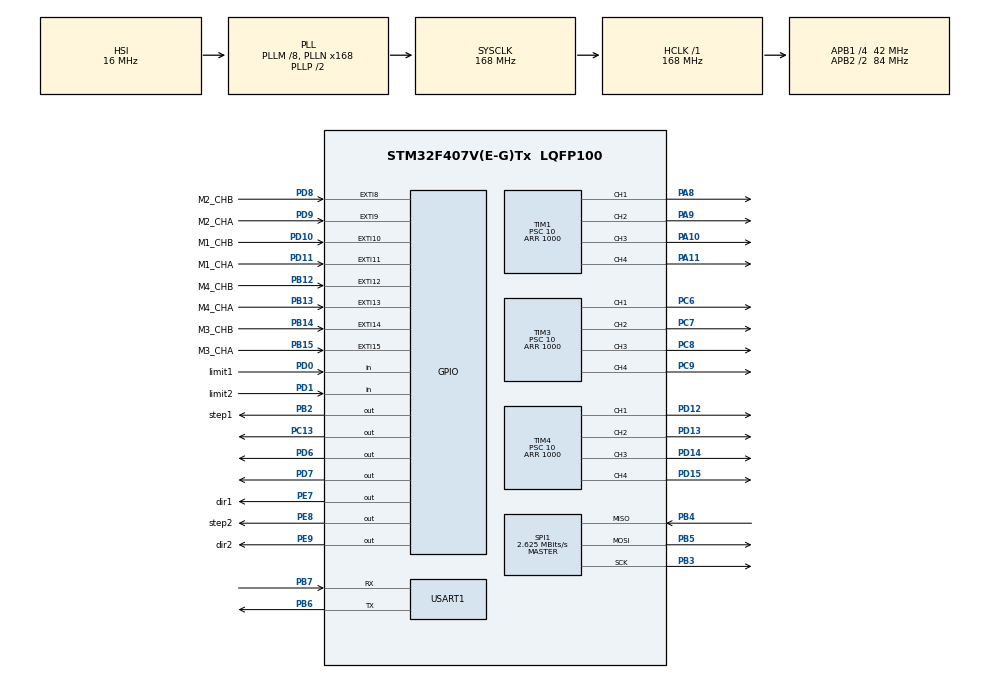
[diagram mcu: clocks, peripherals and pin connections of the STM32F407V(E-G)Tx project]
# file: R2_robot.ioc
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Mcu.Family=STM32F4
Mcu.Name=STM32F407V(E-G)Tx
Mcu.Package=LQFP100
NVIC.EXTI15_10_IRQn=true\:0\:0\:false\:false\:true\:true\:true
NVIC.EXTI9_5_IRQn=true\:0\:0\:false\:false\:true\:true\:true
NVIC.PriorityGroup=NVIC_PRIORITYGROUP_4
NVIC.TIM1_BRK_TIM9_IRQn=true\:0\:0\:false\:false\:true\:true\:true
NVIC.TIM7_IRQn=true\:0\:0\:false\:false\:true\:true\:true
PA10.Signal=S_TIM1_CH3
PA11.Signal=S_TIM1_CH4
PA13.Mode=Serial_Wire
PA13.Signal=SYS_JTMS-SWDIO
PA14.Mode=Serial_Wire
PA14.Signal=SYS_JTCK-SWCLK
PA8.Signal=S_TIM1_CH1
PA9.Signal=S_TIM1_CH2
PB12.GPIO_Label=M4_CHB
PB12.GPIO_ModeDefaultEXTI=GPIO_MODE_IT_RISING_FALLING
PB12.Signal=GPXTI12
PB13.GPIO_Label=M4_CHA
PB13.GPIO_ModeDefaultEXTI=GPIO_MODE_IT_RISING_FALLING
PB13.Signal=GPXTI13
PB14.GPIO_Label=M3_CHB
PB14.GPIO_ModeDefaultEXTI=GPIO_MODE_IT_RISING_FALLING
PB14.Signal=GPXTI14
PB15.GPIO_Label=M3_CHA
PB15.GPIO_ModeDefaultEXTI=GPIO_MODE_IT_RISING_FALLING
PB15.Signal=GPXTI15
PB2.GPIO_Label=step1
PB2.GPIO_PuPd=GPIO_PULLUP
PB2.GPIO_Speed=GPIO_SPEED_FREQ_VERY_HIGH
PB2.Signal=GPIO_Output
PB3.Mode=Full_Duplex_Master
PB3.Signal=SPI1_SCK
PB4.Mode=Full_Duplex_Master
PB4.Signal=SPI1_MISO
PB5.Mode=Full_Duplex_Master
PB5.Signal=SPI1_MOSI
PB6.Mode=Asynchronous
PB6.Signal=USART1_TX
PB7.Mode=Asynchronous
PB7.Signal=USART1_RX
PC13-ANTI_TAMP.Signal=GPIO_Output
PC6.Signal=S_TIM3_CH1
PC7.Signal=S_TIM3_CH2
PC8.Signal=S_TIM3_CH3
PC9.Signal=S_TIM3_CH4
PD0.GPIO_Label=limit1
PD0.Signal=GPIO_Input
PD1.GPIO_Label=limit2
PD1.Signal=GPIO_Input
PD10.GPIO_Label=M1_CHB
PD10.GPIO_ModeDefaultEXTI=GPIO_MODE_IT_RISING_FALLING
PD10.Signal=GPXTI10
PD11.GPIO_Label=M1_CHA
PD11.GPIO_ModeDefaultEXTI=GPIO_MODE_IT_RISING_FALLING
PD11.Signal=GPXTI11
PD12.Signal=S_TIM4_CH1
PD13.Signal=S_TIM4_CH2
PD14.Signal=S_TIM4_CH3
PD15.Signal=S_TIM4_CH4
PD6.Signal=GPIO_Output
PD7.Signal=GPIO_Output
PD8.GPIO_Label=M2_CHB
PD8.GPIO_ModeDefaultEXTI=GPIO_MODE_IT_RISING_FALLING
PD8.Signal=GPXTI8
PD9.GPIO_Label=M2_CHA
PD9.GPIO_ModeDefaultEXTI=GPIO_MODE_IT_RISING_FALLING
PD9.Signal=GPXTI9
PE7.GPIO_Label=dir1
PE7.Signal=GPIO_Output
PE8.GPIO_Label=step2
PE8.GPIO_PuPd=GPIO_PULLUP
PE8.GPIO_Speed=GPIO_SPEED_FREQ_VERY_HIGH
PE8.Signal=GPIO_Output
PE9.GPIO_Label=dir2
PE9.Signal=GPIO_Output
PH0-OSC_IN.Mode=HSE-External-Oscillator
PH0-OSC_IN.Signal=RCC_OSC_IN
PH1-OSC_OUT.Mode=HSE-External-Oscillator
PH1-OSC_OUT.Signal=RCC_OSC_OUT
ProjectManager.HeapSize=0x200
ProjectManager.StackSize=0x400
ProjectManager.TargetToolchain=STM32CubeIDE
RCC.48MHZClocksFreq_Value=84000000
RCC.AHBFreq_Value=168000000
RCC.APB1CLKDivider=RCC_HCLK_DIV4
RCC.APB1Freq_Value=42000000
RCC.APB1TimFreq_Value=84000000
RCC.APB2CLKDivider=RCC_HCLK_DIV2
RCC.APB2Freq_Value=84000000
RCC.APB2TimFreq_Value=168000000
RCC.CortexFreq_Value=168000000
RCC.HCLKFreq_Value=168000000
RCC.HSE_VALUE=16000000
RCC.HSI_VALUE=16000000
RCC.LSE_VALUE=32768
RCC.PLLM=8
RCC.PLLN=168
RCC.SYSCLKFreq_VALUE=168000000
RCC.SYSCLKSource=RCC_SYSCLKSOURCE_PLLCLK
RCC.VCOOutputFreq_Value=336000000
SH.S_TIM1_CH1.0=TIM1_CH1,PWM Generation1 CH1
SH.S_TIM1_CH2.0=TIM1_CH2,PWM Generation2 CH2
SH.S_TIM1_CH3.0=TIM1_CH3,PWM Generation3 CH3
SH.S_TIM1_CH4.0=TIM1_CH4,PWM Generation4 CH4
SH.S_TIM3_CH1.0=TIM3_CH1,PWM Generation1 CH1
SH.S_TIM3_CH2.0=TIM3_CH2,PWM Generation2 CH2
SH.S_TIM3_CH3.0=TIM3_CH3,PWM Generation3 CH3
SH.S_TIM3_CH4.0=TIM3_CH4,PWM Generation4 CH4
SH.S_TIM4_CH1.0=TIM4_CH1,PWM Generation1 CH1
SH.S_TIM4_CH2.0=TIM4_CH2,PWM Generation2 CH2
SH.S_TIM4_CH3.0=TIM4_CH3,PWM Generation3 CH3
SH.S_TIM4_CH4.0=TIM4_CH4,PWM Generation4 CH4
SPI1.BaudRatePrescaler=SPI_BAUDRATEPRESCALER_32
SPI1.CalculateBaudRate=2.625 MBits/s
SPI1.Direction=SPI_DIRECTION_2LINES
SPI1.Mode=SPI_MODE_MASTER
SPI1.VirtualType=VM_MASTER
TIM1.AutoReloadPreload=TIM_AUTORELOAD_PRELOAD_ENABLE
TIM1.Channel-PWM\ Generation1\ CH1=TIM_CHANNEL_1
TIM1.Channel-PWM\ Generation2\ CH2=TIM_CHANNEL_2
TIM1.Channel-PWM\ Generation3\ CH3=TIM_CHANNEL_3
TIM1.Channel-PWM\ Generation4\ CH4=TIM_CHANNEL_4
TIM1.Period=1000
TIM1.Prescaler=10
TIM3.AutoReloadPreload=TIM_AUTORELOAD_PRELOAD_ENABLE
TIM3.Channel-PWM\ Generation1\ CH1=TIM_CHANNEL_1
TIM3.Channel-PWM\ Generation2\ CH2=TIM_CHANNEL_2
TIM3.Channel-PWM\ Generation3\ CH3=TIM_CHANNEL_3
TIM3.Channel-PWM\ Generation4\ CH4=TIM_CHANNEL_4
TIM3.Period=1000
TIM3.Prescaler=10
TIM4.AutoReloadPreload=TIM_AUTORELOAD_PRELOAD_ENABLE
TIM4.Channel-PWM\ Generation1\ CH1=TIM_CHANNEL_1
TIM4.Channel-PWM\ Generation2\ CH2=TIM_CHANNEL_2
TIM4.Channel-PWM\ Generation3\ CH3=TIM_CHANNEL_3
TIM4.Channel-PWM\ Generation4\ CH4=TIM_CHANNEL_4
TIM4.Period=1000
TIM4.Prescaler=10
TIM7.AutoReloadPreload=TIM_AUTORELOAD_PRELOAD_ENABLE
TIM7.Period=1679
TIM7.Prescaler=999
TIM9.AutoReloadPreload=TIM_AUTORELOAD_PRELOAD_ENABLE
TIM9.Period=167
TIM9.Prescaler=1
USART1.VirtualMode=VM_ASYNC
VP_TIM1_VS_ClockSourceINT.Mode=Internal
VP_TIM3_VS_ClockSourceINT.Mode=Internal
VP_TIM4_VS_ClockSourceINT.Mode=Internal
VP_TIM7_VS_ClockSourceINT.Mode=Enable_Timer
VP_TIM9_VS_ClockSourceINT.Mode=Internal
board=custom

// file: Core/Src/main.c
/* USER CODE BEGIN Header */
/**
  ******************************************************************************
  * @file           : main.c
  * @brief          : Main program body
  ******************************************************************************
  * @attention
  *
  * <h2><center>&copy; Copyright (c) 2022 STMicroelectronics.
  * All rights reserved.</center></h2>
  *
  * This software component is licensed by ST under BSD 3-Clause license,
  * the "License"; You may not use this file except in compliance with the
  * License. You may obtain a copy of the License at:
  *                        opensource.org/licenses/BSD-3-Clause
  *
  ******************************************************************************
  */
/* USER CODE END Header */
#include "main.h"
#include "spi.h"
#include "tim.h"
#include "usart.h"
#include "gpio.h"

/* USER CODE BEGIN Includes */
#include "MY_NRF24.h"
#include "PID.h"
#include "omni_wheel.h"
#include "AccelStepper.h"
#include "micros.h"
#include "stdio.h"
/* USER CODE END Includes */

/* USER CODE BEGIN PTD */
PIDController MPID;
/* USER CODE END PTD */

/* USER CODE BEGIN PV */
#define MKp 7.92
#define MKi 136.48
#define MKd 0.0

float Motor1_speed = 0;
float Motor2_speed = 0;
float Motor3_speed = 0;
float Motor4_speed = 0;
float V1 = 0;//target speed of motor1
float V2 = 0;//target speed of motor2
float V3 = 0;//target speed of motor3
float V4 = 0;//target speed of motor4
float pwm_M1 = 0;
float pwm_M2 = 0;
float pwm_M3 = 0;
float pwm_M4 = 0;

float M_down,M_up;
float pwm_M = 1000;
float pwm_cnt = 0;

// to get data from nrf
float vx1,vy1,omega1;
float vx,vy,omega;

#define maxV 500.0
#define maxOmega 6.50

uint64_t RxpipeAddrs = 0x23456744BB;
uint8_t myRxData[12];

//float pwm1, pwm2, pwm3, pwm4;
// button
uint8_t BTN = 0;

// stepper
Stepper_t stepper_under;
uint8_t limit_under = 0;
uint8_t homing_stepper_under = 0;
// stepper 2
Stepper_t stepper_upper;
uint8_t limit_upper = 0;
uint8_t  homing_stepper_upper = 0;

uint8_t B_xi = 0;
uint8_t B_xo = 0;
uint8_t B_x_0 = 0;

uint8_t B_yi = 0;
uint8_t B_yo = 0;

uint8_t moveTo_mode = 0;
/* USER CODE END PV */

void SystemClock_Config(void);

/* USER CODE BEGIN 0 */
float map(float Input, float Min_Input , float Max_Input ,float Min_Output, float Max_Output){

	return (float) ((Input - Min_Input) * (Max_Output - Min_Output) / (Max_Input - Min_Input) + Min_Output);
}
void reset_data(void){
	myRxData[0] = 128;//x1
	myRxData[1] = 128;//y1
	myRxData[2] = 128;//x2
	myRxData[3] = 128; //y2
	myRxData[7] = 0; //all button
}
/* USER CODE END 0 */

int main(void)
{
  /* USER CODE BEGIN 1 */
	// PID init--------------------------------
	PID_Init(&MPID, 4);
	MPID.T = 0.01;		// T = 10ms
	MPID.limMax = 1000;
	MPID.limMin = -1000;
	MPID.limMaxInt = 1000;
	MPID.limMinInt = -1000;
	MPID.tau = 0;	// for Kd
  /* USER CODE END 1 */

  /* MCU Configuration--------------------------------------------------------*/

  /* Reset of all peripherals, Initializes the Flash interface and the Systick. */
  HAL_Init();

  /* USER CODE BEGIN Init */
  DWT_Init();
  InitStepper(&stepper_under, step1_Pin, step1_GPIO_Port, dir1_Pin, dir1_GPIO_Port, 0);
  setAcceleration(&stepper_under, 3000);
  setMaxSpeed(&stepper_under, 4000);
  moveTo(&stepper_under, -20000);

  InitStepper(&stepper_upper, step2_Pin, step2_GPIO_Port, dir2_Pin, dir2_GPIO_Port, 0);
  setAcceleration(&stepper_upper, 1000);
  setMaxSpeed(&stepper_upper, 5000);
  moveTo(&stepper_upper, -100000);

  /* USER CODE END Init */

  /* Configure the system clock */
  SystemClock_Config();

  /* Initialize all configured peripherals */
  MX_GPIO_Init();
  MX_SPI1_Init();
  MX_USART1_UART_Init();
  MX_TIM1_Init();
  MX_TIM3_Init();
  MX_TIM7_Init();
  MX_TIM4_Init();
  MX_TIM9_Init();
  /* USER CODE BEGIN 2 */
  	NRF24_begin(GPIOD,GPIO_PIN_7, GPIO_PIN_6,hspi1);
    nrf24_DebugUART_Init(huart1);

    printRadioSettings();
  	NRF24_setAutoAck(true);
  	NRF24_setChannel(68);
  	NRF24_setPayloadSize(32);
  	NRF24_openReadingPipe(1, RxpipeAddrs);
  	NRF24_startListening();
  	reset_data();

  	// timer
	HAL_TIM_Base_Start_IT(&htim7);
	//HAL_TIM_Base_Start_IT(&htim2); no need to use

	HAL_TIM_PWM_Start(&htim1, TIM_CHANNEL_1);
	HAL_TIM_PWM_Start(&htim1, TIM_CHANNEL_2);
	HAL_TIM_PWM_Start(&htim1, TIM_CHANNEL_3);
	HAL_TIM_PWM_Start(&htim1, TIM_CHANNEL_4);

	HAL_TIM_PWM_Start(&htim3, TIM_CHANNEL_1);
	HAL_TIM_PWM_Start(&htim3, TIM_CHANNEL_2);
	HAL_TIM_PWM_Start(&htim3, TIM_CHANNEL_3);
	HAL_TIM_PWM_Start(&htim3, TIM_CHANNEL_4);

	HAL_TIM_PWM_Start(&htim4, TIM_CHANNEL_1);
	HAL_TIM_PWM_Start(&htim4, TIM_CHANNEL_2);
  /* USER CODE END 2 */

  /* Infinite loop */
	  while (1)
	  {

    /* USER CODE BEGIN 3 */
			// map that data
		  if(homing_stepper_under == 1 && homing_stepper_upper == 1){
				if(NRF24_available()){
					NRF24_read(myRxData, 32);
					vx1 = myRxData[1];	// need to change
					vy1 = myRxData[0];
					BTN = myRxData[7];
					omega1 = myRxData[3];
				}
			  if(vx1 != 0 && vy1 != 0 && omega1 != 0){
					vx = map(vx1, 0, 256, -1.0 * maxV, maxV);
					vy = map(vy1, 0, 256, -1.0 * maxV, maxV);
					omega = map(omega1, 0, 256,  maxOmega, -1.0 * maxOmega);
					//using button
					B_yi = BTN>>1&1;
					B_yo = BTN>>0&1;
					B_xi = BTN>>4&1;
					B_xo = BTN>>6&1;
					B_x_0 = BTN>>5&1;
					M_up = BTN>>2&1;
					M_down = BTN>>7&1;
			  }
		  }

	// stepper-----------------------------------------------------------
			  limit_under = HAL_GPIO_ReadPin(limit2_GPIO_Port, limit2_Pin);
			  if(limit_under == 1 && homing_stepper_under == 0){
				  stop(&stepper_under);
				  stepper_under._speed = 0;
				  setCurrentPosition(&stepper_under, -100);
				  stepper_under._targetPos = -100;
				  moveTo(&stepper_under, 0);
				  homing_stepper_under = 1;
				  setAcceleration(&stepper_under, 5000);
				  setMaxSpeed(&stepper_under, 10000);
			  }
			  if(homing_stepper_under ==1){
			      if(B_yi == 0 && B_yo == 1){
			  	    moveTo(&stepper_under, 12000);
			      }
			      else if (B_yi == 1 && B_yo == 0){
			  	    moveTo(&stepper_under, 0);
			      }
			  }
			  if(distanceToGo(&stepper_under) != 0){
			  	run(&stepper_under);
			  }
	// stepper upper --------------------------------
		  limit_upper = HAL_GPIO_ReadPin(limit1_GPIO_Port, limit1_Pin);
		  if(limit_upper == 1 && homing_stepper_upper == 0){
			  stop(&stepper_upper);
			  stepper_upper._speed = 0;
			  setCurrentPosition(&stepper_upper, 0);
			  stepper_upper._targetPos = 0;
			  //moveTo(&stepper_upper, 0);
			  homing_stepper_upper = 1;
			  setAcceleration(&stepper_upper, 8000);
			  setMaxSpeed(&stepper_upper, 19000);
		  }
	      	  if(homing_stepper_upper ==1){
			  //moveTo(&stepper_upper, x);

			  	      if(B_xi == 0 && B_xo == 1 && B_x_0 == 0){
			  	  	    move(&stepper_upper, -50000);
			  	  	    moveTo_mode = 0;
			  	      }
			  	      else if (B_xi == 1 && B_xo == 0 && B_x_0 == 0){
			  	  	    move(&stepper_upper, 50000);
			  	  	    moveTo_mode = 0;
			  	      }
			  	      else if(B_xi == 0 && B_xo == 0 && B_x_0 == 1){
			  	    	  moveTo(&stepper_upper, 500);
			  	    	  moveTo_mode = 1;
			  	      }
			  	      else{
			  	    	  if(moveTo_mode == 0){
				  			  stop(&stepper_upper);
				  			  stepper_upper._speed = 0;
				  			setCurrentPosition(&stepper_upper, currentPosition(&stepper_upper));
				  			  stepper_upper._targetPos = currentPosition(&stepper_upper);
			  	    	  }
			  	      }
		  }
		  if(distanceToGo(&stepper_upper) != 0){
		  	run(&stepper_upper);
		  }
	//		---------------------------------------------------------------------------
	//		if (BTN > 0){
	//			HAL_GPIO_WritePin(GPIOC, GPIO_PIN_13, 1);
	//		}
	//		else {
	//			HAL_GPIO_WritePin(GPIOC, GPIO_PIN_13, 0);
	//		}
	  }
  /* USER CODE END 3 */
}

void SystemClock_Config(void)
{
  RCC_OscInitTypeDef RCC_OscInitStruct = {0};
  RCC_ClkInitTypeDef RCC_ClkInitStruct = {0};

  /** Configure the main internal regulator output voltage
  */
  __HAL_RCC_PWR_CLK_ENABLE();
  __HAL_PWR_VOLTAGESCALING_CONFIG(PWR_REGULATOR_VOLTAGE_SCALE1);
  /** Initializes the RCC Oscillators according to the specified parameters
  * in the RCC_OscInitTypeDef structure.
  */
  RCC_OscInitStruct.OscillatorType = RCC_OSCILLATORTYPE_HSI;
  RCC_OscInitStruct.HSIState = RCC_HSI_ON;
  RCC_OscInitStruct.HSICalibrationValue = RCC_HSICALIBRATION_DEFAULT;
  RCC_OscInitStruct.PLL.PLLState = RCC_PLL_ON;
  RCC_OscInitStruct.PLL.PLLSource = RCC_PLLSOURCE_HSI;
  RCC_OscInitStruct.PLL.PLLM = 8;
  RCC_OscInitStruct.PLL.PLLN = 168;
  RCC_OscInitStruct.PLL.PLLP = RCC_PLLP_DIV2;
  RCC_OscInitStruct.PLL.PLLQ = 4;
  if (HAL_RCC_OscConfig(&RCC_OscInitStruct) != HAL_OK)
  {
    Error_Handler();
  }
  /** Initializes the CPU, AHB and APB buses clocks
  */
  RCC_ClkInitStruct.ClockType = RCC_CLOCKTYPE_HCLK|RCC_CLOCKTYPE_SYSCLK
                              |RCC_CLOCKTYPE_PCLK1|RCC_CLOCKTYPE_PCLK2;
  RCC_ClkInitStruct.SYSCLKSource = RCC_SYSCLKSOURCE_PLLCLK;
  RCC_ClkInitStruct.AHBCLKDivider = RCC_SYSCLK_DIV1;
  RCC_ClkInitStruct.APB1CLKDivider = RCC_HCLK_DIV4;
  RCC_ClkInitStruct.APB2CLKDivider = RCC_HCLK_DIV2;

  if (HAL_RCC_ClockConfig(&RCC_ClkInitStruct, FLASH_LATENCY_5) != HAL_OK)
  {
    Error_Handler();
  }
}

/* USER CODE BEGIN 4 */
void HAL_GPIO_EXTI_Callback(uint16_t GPIO_Pin){
	if(GPIO_Pin == M1_CHA_Pin||M1_CHB_Pin){//ENCODER Motor 1
 		  nowA[0] = HAL_GPIO_ReadPin(M1_CHA_GPIO_Port, M1_CHA_Pin);
 		  nowB[0] = HAL_GPIO_ReadPin(M1_CHB_GPIO_Port, M1_CHB_Pin);
 		  Enc_count[0] = encoder(0);
 	}
	if(GPIO_Pin == M2_CHA_Pin||M2_CHB_Pin){//ENCODER Motor 1
 		  nowA[1] = HAL_GPIO_ReadPin(M2_CHA_GPIO_Port, M2_CHA_Pin);
 		  nowB[1] = HAL_GPIO_ReadPin(M2_CHB_GPIO_Port, M2_CHB_Pin);
 		  Enc_count[1] = encoder(1);
 	}
	if(GPIO_Pin == M3_CHA_Pin||M3_CHB_Pin){//ENCODER Motor 1
 		  nowA[2] = HAL_GPIO_ReadPin(M3_CHA_GPIO_Port, M3_CHA_Pin);
 		  nowB[2] = HAL_GPIO_ReadPin(M3_CHB_GPIO_Port, M3_CHB_Pin);
 		  Enc_count[2] = encoder(2);
 	}
	if(GPIO_Pin == M4_CHA_Pin||M4_CHB_Pin){//ENCODER Motor 1
 		  nowA[3] = HAL_GPIO_ReadPin(M4_CHA_GPIO_Port, M4_CHA_Pin);
 		  nowB[3] = HAL_GPIO_ReadPin(M4_CHB_GPIO_Port, M4_CHB_Pin);
 		  Enc_count[3] = encoder(3);
 	}
}

void HAL_TIM_PeriodElapsedCallback(TIM_HandleTypeDef *htim)
{
	if (htim->Instance == TIM2){
	}
	  if (htim->Instance == TIM7) {
		  //HAL_GPIO_TogglePin(GPIOC, GPIO_PIN_13);
		  if ((M_down == 1 && M_up == 0) || (M_down == 0 && M_up == 1)){
			  if(pwm_cnt <= pwm_M){
				  pwm_cnt+=100;
			  }
		  }
		  else {
			  pwm_cnt = 0;
		  }

		  //wheel
		  V1 = wheel1(vx, vy, omega);
		  V2 = wheel2(vx, vy, omega);
		  V3 = wheel3(vx, vy, omega);
		  V4 = wheel4(vx, vy, omega);
		  // PID
		  pwm_M1 = PID(&MPID, V1, Motor1_speed,MKp,MKi,MKd,Motor1);
		  pwm_M2 = PID(&MPID, V2, Motor2_speed,MKp,MKi,MKd,Motor2);
		  pwm_M3 = PID(&MPID, V3, Motor3_speed,MKp,MKi,MKd,Motor3);
		  pwm_M4 = PID(&MPID, V4, Motor4_speed,MKp,MKi,MKd,Motor4);
		  // feedback speed
		  Motor1_speed = Motors_RPS(Motor1, 10, 912);
		  Motor2_speed = Motors_RPS(Motor2, 10, 912);
		  Motor3_speed = Motors_RPS(Motor3, 10, 912);
		  Motor4_speed = Motors_RPS(Motor4, 10, 912);

// pwm ---------------------------------------------------------------------------------
		  if(pwm_M1 > 0){
			  TIM1->CCR1 = 0;
			  TIM1->CCR2 = pwm_M1;
		  }
		  else if(pwm_M1 < 0){
			  TIM1->CCR1 = -1.0*pwm_M1;
			  TIM1->CCR2 = 0;
		  }
		  else {
			  TIM1->CCR1 = 0;
			  TIM1->CCR2 = 0;
		  }
		  // motor 2
		  if(pwm_M2 > 0){
			  TIM1->CCR3 = 0;
			  TIM1->CCR4 = pwm_M2;
		  }
		  else if(pwm_M2 < 0){
			  TIM1->CCR3 = -1.0*pwm_M2;
			  TIM1->CCR4 = 0;
		  }
		  else {
			  TIM1->CCR3 = 0;
			  TIM1->CCR4 = 0;
		  }
		  // motor 3
		  if(pwm_M3 > 0){
			  TIM3->CCR1 = pwm_M3;
			  TIM3->CCR2 = 0;
		  }
		  else if(pwm_M3 < 0){
			  TIM3->CCR1 = 0;
			  TIM3->CCR2 = -1.0*pwm_M3;
		  }
		  else {
			  TIM3->CCR1 = 0;
			  TIM3->CCR2 = 0;
		  }
		  // motor 4
		  if(pwm_M4 > 0){
			  TIM3->CCR3 = pwm_M4;
			  TIM3->CCR4 = 0;
		  }
		  else if(pwm_M4 < 0){
			  TIM3->CCR3 = 0;
			  TIM3->CCR4 = -1.0*pwm_M4;
		  }
		  else {
			  TIM3->CCR3 = 0;
			  TIM3->CCR4 = 0;
		  }

// up and down motor -----------------------------------------------
 		  if(M_down == 1 && M_up == 0){
 			  TIM4->CCR1 = pwm_cnt;
			  TIM4->CCR2 = 0;
		  }
		  else if(M_down == 0 && M_up == 1){
			  TIM4->CCR1 = 0;
			  TIM4->CCR2 = pwm_cnt;
		  }
		  else {
			  TIM4->CCR1 = 0;
			  TIM4->CCR2 = 0;
		  }
	  }
}
/* USER CODE END 4 */

void Error_Handler(void)
{
}

/************************ (C) COPYRIGHT STMicroelectronics *****END OF FILE****/
